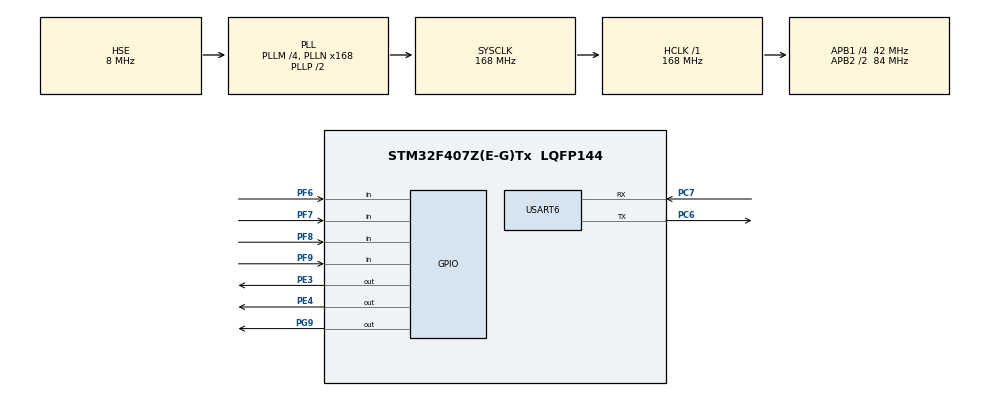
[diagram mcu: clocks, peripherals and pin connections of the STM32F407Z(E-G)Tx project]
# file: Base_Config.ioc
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Mcu.Family=STM32F4
Mcu.Name=STM32F407Z(E-G)Tx
Mcu.Package=LQFP144
NVIC.PriorityGroup=NVIC_PRIORITYGROUP_3
NVIC.USART6_IRQn=true\:0\:0\:false\:true\:true\:1\:true\:true\:true
PA13.Mode=Serial_Wire
PA13.Signal=SYS_JTMS-SWDIO
PA14.Mode=Serial_Wire
PA14.Signal=SYS_JTCK-SWCLK
PC6.Mode=Asynchronous
PC6.Signal=USART6_TX
PC7.Mode=Asynchronous
PC7.Signal=USART6_RX
PE3.PinState=GPIO_PIN_SET
PE3.Signal=GPIO_Output
PE4.PinState=GPIO_PIN_SET
PE4.Signal=GPIO_Output
PF6.GPIO_PuPd=GPIO_PULLUP
PF6.Signal=GPIO_Input
PF7.GPIO_PuPd=GPIO_PULLUP
PF7.Signal=GPIO_Input
PF8.GPIO_PuPd=GPIO_PULLUP
PF8.Signal=GPIO_Input
PF9.GPIO_PuPd=GPIO_PULLUP
PF9.Signal=GPIO_Input
PG9.PinState=GPIO_PIN_SET
PG9.Signal=GPIO_Output
PH0-OSC_IN.Mode=HSE-External-Oscillator
PH0-OSC_IN.Signal=RCC_OSC_IN
PH1-OSC_OUT.Mode=HSE-External-Oscillator
PH1-OSC_OUT.Signal=RCC_OSC_OUT
ProjectManager.HeapSize=0x800
ProjectManager.StackSize=0x1000
ProjectManager.TargetToolchain=MDK-ARM V5.32
RCC.48MHZClocksFreq_Value=84000000
RCC.AHBFreq_Value=168000000
RCC.APB1CLKDivider=RCC_HCLK_DIV4
RCC.APB1Freq_Value=42000000
RCC.APB1TimFreq_Value=84000000
RCC.APB2CLKDivider=RCC_HCLK_DIV2
RCC.APB2Freq_Value=84000000
RCC.APB2TimFreq_Value=168000000
RCC.CortexFreq_Value=168000000
RCC.HCLKFreq_Value=168000000
RCC.HSE_VALUE=8000000
RCC.HSI_VALUE=16000000
RCC.LSE_VALUE=32768
RCC.PLLM=4
RCC.PLLN=168
RCC.PLLSourceVirtual=RCC_PLLSOURCE_HSE
RCC.SYSCLKFreq_VALUE=168000000
RCC.SYSCLKSource=RCC_SYSCLKSOURCE_PLLCLK
RCC.VCOOutputFreq_Value=336000000
USART6.VirtualMode=VM_ASYNC
board=custom

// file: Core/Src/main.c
/* USER CODE BEGIN Header */
/**
  ******************************************************************************
  * @file           : main.c
  * @brief          : Main program body
  ******************************************************************************
  * @attention
  *
  * Copyright (c) 2024 STMicroelectronics.
  * All rights reserved.
  *
  * This software is licensed under terms that can be found in the LICENSE file
  * in the root directory of this software component.
  * If no LICENSE file comes with this software, it is provided AS-IS.
  *
  ******************************************************************************
  */
/* USER CODE END Header */
#include "main.h"
#include "usart.h"
#include "gpio.h"

/* USER CODE BEGIN Includes */
#include "stdio.h"
#include "string.h"

#include "malloc.h"

#include "SEGGER_RTT.h"
#include "SEGGER_RTT_Conf.h"
#include "log.h"

/* USER CODE END Includes */

/* USER CODE BEGIN PD */

#define HELLO_STR "Hello\r"

/* USER CODE END PD */

void SystemClock_Config(void);
static void MX_NVIC_Init(void);
/* USER CODE BEGIN PFP */

static uint8_t check_strstr(const uint8_t * buf_check);

/* USER CODE END PFP */

/* USER CODE BEGIN 0 */

char buf_send[BUFFSIZE] = {0};

char buf_receive[BUFFSIZE] = {0};
uint32_t time_count;
uint32_t time_start;
uint32_t i;
uint8_t key;
uint8_t flag_TxDMA_OK;

uint8_t Rxflag;
uint8_t Rxlen;

/* USER CODE END 0 */

int main(void)
{

  /* USER CODE BEGIN 1 */

  uint8_t ret = 0;

  /* USER CODE END 1 */

  /* MCU Configuration--------------------------------------------------------*/

  /* Reset of all peripherals, Initializes the Flash interface and the Systick. */
  HAL_Init();

  /* Configure the system clock */
  SystemClock_Config();

  /* Initialize all configured peripherals */
  MX_GPIO_Init();
  MX_USART6_UART_Init();

  /* Initialize interrupts */
  MX_NVIC_Init();
  /* USER CODE BEGIN 2 */

  SEGGER_RTT_Init();

  my_mem_init(SRAMIN);			//初始化内部内存池

  HAL_UART_Receive_IT(&huart6,(uint8_t*)buf_receive,BUFFSIZE);
  LED_On();
  HAL_Delay(100);
  LED_Off();
  HAL_Delay(100);
  LED_On();
  HAL_Delay(100);
  LED_Off();
  HAL_Delay(100);
  LED_On();
  HAL_Delay(100);
  LED_Off();
  HAL_Delay(100);

  sprintf(buf_send, HELLO_STR);
  HAL_UART_Transmit(&huart6, (uint8_t *)buf_send, sizeof(HELLO_STR), 0xffff);

  time_start = HAL_GetTick();
  i = 0;
  flag_TxDMA_OK = 0;

  volatile uint32_t test = 0x99;
  test = *(uint32_t*)0x56785678;

  /* USER CODE END 2 */

  /* Infinite loop */
  /* USER CODE BEGIN WHILE */
  while (1)
  {

    if((HAL_GetTick()-time_start)>1000)
    {
      LOG_DEBUG("i:%u\r\n",i);
//      LOG_DEBUG("123456789%d\r\n",i);
//      LOG_INFO("Info\r\n");
//      LOG_WARN("Warn\r\n");
//      LOG_ERR("Error\r\n");
      time_start = HAL_GetTick();
      i++;

      if(key == KEY1_PRESS)
      {
        LED0_On();
        LOG_DEBUG("LED0_On\r\n");
      }
      if(key == KEY2_PRESS)
      {
        LED1_On();
        LOG_DEBUG("LED1_On\r\n");
      }
      if(key == KEY3_PRESS)
      {
        LED2_On();
        LOG_DEBUG("LED2_On\r\n");
      }
      if(key == KEY4_PRESS)
      {
        LED_Off();
        LOG_DEBUG("LED_Off\r\n");
      }
      key = KEY_NONE;

    }

    if(key == KEY_NONE)
    {
      key = Key_Scan();
    }

    if(Rxflag == 1 )
    {
      printf("Receive OK \r\n");

      memset(buf_receive, 0x00, BUFFSIZE);
      HAL_UART_Receive_IT(&huart6,(uint8_t*)buf_receive,BUFFSIZE);
      Rxflag = 0;
    }

    /* USER CODE END WHILE */

  }
}

void SystemClock_Config(void)
{
  RCC_OscInitTypeDef RCC_OscInitStruct = {0};
  RCC_ClkInitTypeDef RCC_ClkInitStruct = {0};

  /** Configure the main internal regulator output voltage
  */
  __HAL_RCC_PWR_CLK_ENABLE();
  __HAL_PWR_VOLTAGESCALING_CONFIG(PWR_REGULATOR_VOLTAGE_SCALE1);

  /** Initializes the RCC Oscillators according to the specified parameters
  * in the RCC_OscInitTypeDef structure.
  */
  RCC_OscInitStruct.OscillatorType = RCC_OSCILLATORTYPE_HSE;
  RCC_OscInitStruct.HSEState = RCC_HSE_ON;
  RCC_OscInitStruct.PLL.PLLState = RCC_PLL_ON;
  RCC_OscInitStruct.PLL.PLLSource = RCC_PLLSOURCE_HSE;
  RCC_OscInitStruct.PLL.PLLM = 4;
  RCC_OscInitStruct.PLL.PLLN = 168;
  RCC_OscInitStruct.PLL.PLLP = RCC_PLLP_DIV2;
  RCC_OscInitStruct.PLL.PLLQ = 4;
  if (HAL_RCC_OscConfig(&RCC_OscInitStruct) != HAL_OK)
  {
    Error_Handler();
  }

  /** Initializes the CPU, AHB and APB buses clocks
  */
  RCC_ClkInitStruct.ClockType = RCC_CLOCKTYPE_HCLK|RCC_CLOCKTYPE_SYSCLK
                                |RCC_CLOCKTYPE_PCLK1|RCC_CLOCKTYPE_PCLK2;
  RCC_ClkInitStruct.SYSCLKSource = RCC_SYSCLKSOURCE_PLLCLK;
  RCC_ClkInitStruct.AHBCLKDivider = RCC_SYSCLK_DIV1;
  RCC_ClkInitStruct.APB1CLKDivider = RCC_HCLK_DIV4;
  RCC_ClkInitStruct.APB2CLKDivider = RCC_HCLK_DIV2;

  if (HAL_RCC_ClockConfig(&RCC_ClkInitStruct, FLASH_LATENCY_5) != HAL_OK)
  {
    Error_Handler();
  }
}

/**
  * @brief NVIC Configuration.
  * @retval None
  */
static void MX_NVIC_Init(void)
{
  /* USART6_IRQn interrupt configuration */
  HAL_NVIC_SetPriority(USART6_IRQn, 0, 0);
  HAL_NVIC_EnableIRQ(USART6_IRQn);
}

void Error_Handler(void)
{
  __disable_irq();
  while (1)
  {
  }
}
